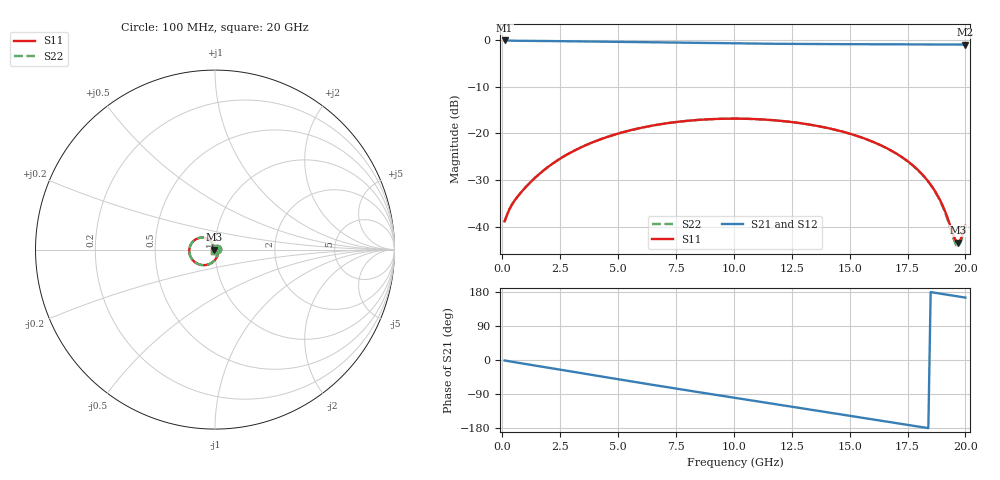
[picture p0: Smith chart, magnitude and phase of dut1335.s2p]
! Touchstone file exported from HFSS 2026.1.0
!  File:  C:/ffzhzh/LocalFiles/Ansys_Project_Files/temp_train_TSV_RDL_1335_1783338491_38820.aedt
!  Generated:  07:54:16 PM Jul  6, 2026
!  Design:  TSV_RDL
!  Project:  temp_train_TSV_RDL_1335_1783338491_38820
! Variables:
!  h_bsmrdl = 4.44um
!  h_ox = 20um
!  h_rdl = 5um
!  h_sub = 52.99um
!  h_tmrdl = 4.02um
!  h_tsv = 52.99um
!  h_via = 3um
!  l_bsmrdl = 139.74um
!  l_sub = 3506.58um
!  l_tmrdl = 632.45um
!  m_sub = 200um
!  pitch = 30.61um
!  r_tsv = 11.17um
!  s_tmrdl = 10um
!  w_bsmrdl = 25.34um
!  w_sub = 500um
!  w_tmrdl = 27.18um
!  x_tsv_center1 = 646.04um
!  x_tsv_center2 = 811.12um
!  x_tsv_center3 = 1470.75um
!  x_tsv_center4 = 1635.83um
!  x_tsv_center5 = 2295.46um
!  x_tsv_center6 = 2460.54um
# GHz S MA R 50.000000
! Terminal data exported
! Port[1] = TM_RDL1_1_T1
! Port[2] = TM_RDL5_1_T1
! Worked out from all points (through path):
!   200 points, 100 MHz to 20 GHz, reference 50 ohm
!   highest |S21| = -0.10 dB at 100 MHz (marker M1); lowest = -1.0 dB at 20 GHz (marker M2)
!   group delay of S21, straight-line fit = 26.9 ps
!   lowest |S11| = -43.4 dB at 19.7 GHz (marker M3), VSWR 1.01, Z = 49.3 - j0.0339 ohm
!   |S11| at or under -10 dB: start of sweep to end of sweep
!   |S22| runs from -44.2 to -16.8 dB; largest |S21 - S12| = 6.4e-14
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0.1  0.01142 3.7  0.9886 -1.2  0.9886 -1.2  0.01142 3.7
! Gamma 0 0 0 0
! Port Impedance 50 0 50 0
0.3  0.01525 -5.2  0.9847 -3.4  0.9847 -3.4  0.01525 -5.2
0.5  0.01859 -20.0  0.982 -5.4  0.982 -5.4  0.01859 -20.0
1.3  0.03141 -59.2  0.9776 -13.5  0.9776 -13.5  0.03141 -59.2
2.3  0.04981 -83.2  0.9728 -23.7  0.9728 -23.7  0.04981 -83.2
3.5  0.07271 -101.8  0.9654 -35.9  0.9654 -35.9  0.07271 -101.8
5.2  0.1027 -122.8  0.9528 -52.9  0.9528 -52.9  0.1027 -122.8
6.8  0.1249 -140.7  0.9404 -68.6  0.9404 -68.6  0.1249 -140.7
8.4  0.139 -157.6  0.9288 -84.1  0.9288 -84.1  0.139 -157.6
10.1  0.1438 -175.0  0.9184 -100.4  0.9184 -100.4  0.1437 -175.0
11.7  0.1384 169.1  0.9109 -115.7  0.9109 -115.7  0.1383 169.1
13.4  0.1226 152.7  0.9053 -131.9  0.9053 -131.9  0.1226 152.7
15.2  0.09597 135.9  0.9015 -149.0  0.9015 -149.0  0.09586 135.8
16.7  0.06741 122.9  0.8992 -163.4  0.8992 -163.4  0.06725 122.6
17.7  0.04607 115.8  0.8977 -173.1  0.8977 -173.1  0.04586 115.3
18.5  0.02825 113.3  0.8963 179.2  0.8963 179.2  0.02798 112.4
19  0.0172 117.7  0.8954 174.3  0.8954 174.3  0.01683 116.3
19.5  0.007895 148.4  0.8943 169.5  0.8943 169.5  0.007292 147.4
19.6  0.00697 164.2  0.8941 168.5  0.8941 168.5  0.00634 164.6
19.7  0.006776 -177.1  0.8939 167.6  0.8939 167.6  0.00619 -174.7
19.8  0.00737 -159.5  0.8936 166.6  0.8936 166.6  0.006894 -155.9
20  0.01021 -136.5  0.8932 164.7  0.8932 164.7  0.009963 -132.9
